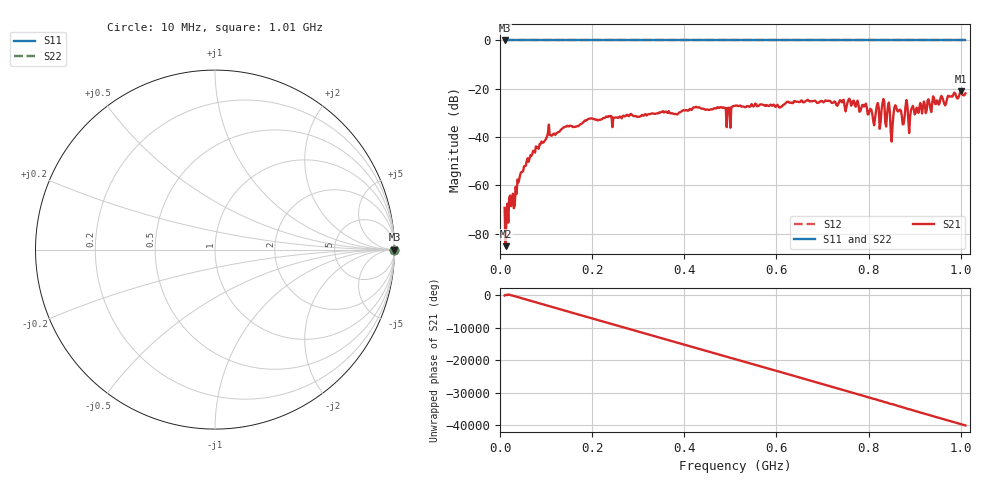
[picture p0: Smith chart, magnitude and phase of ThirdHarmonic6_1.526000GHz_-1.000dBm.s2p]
! 8/16/2025 6:02:32 PM
! C:\ANRITSUVNA\TEMP\TEMP.S2P
! CHANNEL.1
! TR.MEASUREMENT
! RAW.DATA
! RF.CORRECTION.OFF
! AVERAGING.OFF
! IF.BANDWIDTH: 5KHZ
! SWEEPTYPE:  FREQ.SWEEP(Linear)
! Reference Plane Port Info
! PORT:  PORT1  PORT2
! DISTANCE:  0  m  0  m
! TIME:  0  s  0  s
! PHASE.OFFSET:  0  deg.  0  deg.
! LOSS:  0  dB  0  dB
! REF.LOSS:  0  dB  0  dB
! REF.FREQ:  0  Hz  0  Hz
! Power Info
! POWER:  -20  dBm  -20  dBm
! EFF.POWER:  -20  dBm  -20  dBm
! SOURCE.ATTEN:  0  dB  0  dB
! TEST.ATTEN:  0  dB  0  dB
# GHZ S RI R 50.0
! FREQ.GHZ  S11RE  S11IM  S21RE  S21IM  S12RE  S12IM  S22RE  S22IM
!; PortSelection: Port_12
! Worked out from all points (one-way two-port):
!   501 points, 10 MHz to 1.01 GHz, reference 50 ohm
!   highest |S21| = -20.96 dB at 1 GHz (marker M1); lowest = -85.1 dB at 12 MHz (marker M2)
!   lowest |S11| = 0.0 dB at 10 MHz (marker M3)
!   |S11| at or under -10 dB: nowhere
!   |S22| runs from 0.0 to 0.0 dB; largest |S21 - S12| = 1.1
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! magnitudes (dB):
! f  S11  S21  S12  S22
! 10 MHz  0.0  -69.2  0.0  0.0
! 12 MHz  0.0  -85.1  0.0  0.0
! 24 MHz  0.0  -68.6  0.0  0.0
! 28 MHz  0.0  -63.4  0.0  0.0
! 56 MHz  0.0  -51.8  0.0  0.0
! 102 MHz  0.0  -39.8  0.0  0.0
! 178 MHz  0.0  -34.3  0.0  0.0
! 344 MHz  0.0  -30.2  0.0  0.0
! 482 MHz  0.0  -27.7  0.0  0.0
! 496 MHz  0.0  -27.8  0.0  0.0
! 510 MHz  0.0  -27.0  0.0  0.0
! 678 MHz  0.0  -25.2  0.0  0.0
! 790 MHz  0.0  -27.3  0.0  0.0
! 812 MHz  0.0  -35.1  0.0  0.0
! 830 MHz  0.0  -26.1  0.0  0.0
! 844 MHz  0.0  -25.7  0.0  0.0
! 850 MHz  0.0  -41.9  0.0  0.0
! 860 MHz  0.0  -27.6  0.0  0.0
! 890 MHz  0.0  -31.6  0.0  0.0
! 896 MHz  0.0  -27.1  0.0  0.0
! 1 GHz  0.0  -21.0  0.0  0.0
! 1.01 GHz  0.0  -21.9  0.0  0.0
